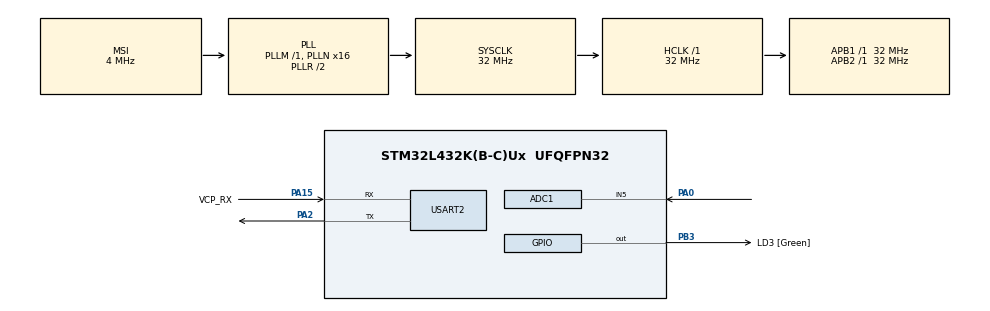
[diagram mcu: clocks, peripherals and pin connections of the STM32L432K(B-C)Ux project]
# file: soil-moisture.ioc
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ADC1.Channel-3\#ChannelRegularConversion=ADC_CHANNEL_VREFINT
ADC1.Channel-4\#ChannelRegularConversion=ADC_CHANNEL_5
ADC1.ContinuousConvMode=DISABLE
ADC1.EnableAnalogWatchDog1=false
ADC1.NbrOfConversion=2
ADC1.NbrOfConversionFlag=1
ADC1.OffsetNumber-3\#ChannelRegularConversion=ADC_OFFSET_NONE
ADC1.OffsetNumber-4\#ChannelRegularConversion=ADC_OFFSET_NONE
ADC1.Rank-3\#ChannelRegularConversion=1
ADC1.Rank-4\#ChannelRegularConversion=2
ADC1.SamplingTime-3\#ChannelRegularConversion=ADC_SAMPLETIME_247CYCLES_5
ADC1.SamplingTime-4\#ChannelRegularConversion=ADC_SAMPLETIME_247CYCLES_5
ADC1.master=1
Mcu.Family=STM32L4
Mcu.Name=STM32L432K(B-C)Ux
Mcu.Package=UFQFPN32
NVIC.PriorityGroup=NVIC_PRIORITYGROUP_4
PA0.Signal=ADCx_IN5
PA13\ (JTMS-SWDIO).GPIO_Label=SWDIO
PA13\ (JTMS-SWDIO).Mode=Serial_Wire
PA13\ (JTMS-SWDIO).Signal=SYS_JTMS-SWDIO
PA14\ (JTCK-SWCLK).GPIO_Label=SWCLK
PA14\ (JTCK-SWCLK).Mode=Serial_Wire
PA14\ (JTCK-SWCLK).Signal=SYS_JTCK-SWCLK
PA15\ (JTDI).GPIO_Label=VCP_RX
PA15\ (JTDI).Mode=Asynchronous
PA15\ (JTDI).Signal=USART2_RX
PA2.Mode=Asynchronous
PA2.Signal=USART2_TX
PB3\ (JTDO-TRACESWO).GPIO_Label=LD3 [Green]
PB3\ (JTDO-TRACESWO).Signal=GPIO_Output
PC14-OSC32_IN\ (PC14).Mode=LSE-External-Oscillator
PC14-OSC32_IN\ (PC14).Signal=RCC_OSC32_IN
PC15-OSC32_OUT\ (PC15).Mode=LSE-External-Oscillator
PC15-OSC32_OUT\ (PC15).Signal=RCC_OSC32_OUT
ProjectManager.HeapSize=0x200
ProjectManager.StackSize=0x400
ProjectManager.TargetToolchain=CMake
RCC.ADCFreq_Value=32000000
RCC.AHBFreq_Value=32000000
RCC.APB1Freq_Value=32000000
RCC.APB1TimFreq_Value=32000000
RCC.APB2Freq_Value=32000000
RCC.APB2TimFreq_Value=32000000
RCC.CortexFreq_Value=32000000
RCC.HCLKFreq_Value=32000000
RCC.HSE_VALUE=8000000
RCC.HSI16_VALUE=16000000
RCC.HSI48_VALUE=48000000
RCC.HSI_VALUE=16000000
RCC.MSI_VALUE=4000000
RCC.PLLMUL=RCC_PLLMUL_4
RCC.PLLN=16
RCC.PLLSAI1N=16
RCC.SYSCLKFreq_VALUE=32000000
RCC.SYSCLKSource=RCC_SYSCLKSOURCE_PLLCLK
RCC.USBFreq_Value=32000000
RCC.VCOOutputFreq_Value=64000000
SH.ADCx_IN5.0=ADC1_IN5,IN5-Single-Ended
USART2.VirtualMode-Asynchronous=VM_ASYNC
VP_ADC1_Vref_Input.Mode=IN-Vrefint
board=NUCLEO-L432KC

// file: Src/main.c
/* USER CODE BEGIN Header */
/**
  ******************************************************************************
  * @file           : main.c
  * @brief          : Main program body
  ******************************************************************************
  * @attention
  *
  * Copyright (c) 2026 STMicroelectronics.
  * All rights reserved.
  *
  * This software is licensed under terms that can be found in the LICENSE file
  * in the root directory of this software component.
  * If no LICENSE file comes with this software, it is provided AS-IS.
  *
  ******************************************************************************
  */
/* USER CODE END Header */
#include "main.h"

/* USER CODE BEGIN Includes */
#include <string.h>
#include <stdio.h>
/* USER CODE END Includes */

ADC_HandleTypeDef hadc1;

UART_HandleTypeDef huart2;

void SystemClock_Config(void);
static void MX_GPIO_Init(void);
static void MX_ADC1_Init(void);
static void MX_USART2_UART_Init(void);

int main(void)
{

  /* USER CODE BEGIN 1 */

  uint32_t adc_ref;		// Variable to store RAW ADC values
  char msg[40];		// Array to print out ADC values through serial UART
  double sum = 0;   // place to sum the values for mean calculation
  int nSamples = 20; // number of samples to take
  uint16_t count;	// ADC Capture Counter

  uint32_t moisture = 0;
  uint32_t voltage_reading = 0;
  uint32_t vdda_voltage = 0;

  double transfer_function_result = 0;

  // Polynomail Regression coeffcicents
  double var_A = 1.0509188409e-11;
  double var_B = -1.1372598225e-07;
  double var_C = 4.5893681046e-04;
  double var_D = -8.2813240419e-01;
  double var_E = 5.8035573202e02;
  /* USER CODE END 1 */

  /* MCU Configuration--------------------------------------------------------*/

  /* Reset of all peripherals, Initializes the Flash interface and the Systick. */
  HAL_Init();

  /* Configure the system clock */
  SystemClock_Config();

  /* Initialize all configured peripherals */
  MX_GPIO_Init();
  MX_ADC1_Init();
  MX_USART2_UART_Init();
  /* USER CODE BEGIN 2 */

  HAL_ADCEx_Calibration_Start(&hadc1, ADC_SINGLE_ENDED);

  /* USER CODE END 2 */

  /* Infinite loop */
  /* USER CODE BEGIN WHILE */

  count = 0;
  while (1)
  {
    /* USER CODE END WHILE */

    /* USER CODE BEGIN 3 */

    // Capture samples of ADC Raw data and transmit through Serial Communications using UART protocol
    if (count <= nSamples)
    {
      //Set LD3 LED to High - indicating start of capture
      HAL_GPIO_WritePin(GPIOB, GPIO_PIN_3, GPIO_PIN_SET);

      // Getting ADC value
      HAL_ADC_Start(&hadc1); 							// Start the ADC capture
      HAL_ADC_PollForConversion(&hadc1, HAL_MAX_DELAY); 	// Begin Reading ADC_CAL
      adc_ref = HAL_ADC_GetValue(&hadc1);					// Store ADC raw data
      HAL_ADC_PollForConversion(&hadc1, HAL_MAX_DELAY); 	// Begin Reading A0 value
      moisture = HAL_ADC_GetValue(&hadc1);

      // calcualating vdda voltage based on in mV using a uint32_t
      // using adc_raw and the internal calibration value

      vdda_voltage = __HAL_ADC_CALC_VREFANALOG_VOLTAGE(adc_ref, ADC_RESOLUTION_12B);

      // Convert to string and print
      sprintf(msg, "ADC Reference Value = %hu\r\n", adc_ref);			// Create a message to send over UART

      HAL_UART_Transmit(&huart2, (uint8_t*)msg, strlen(msg), HAL_MAX_DELAY); // Send message over UART

      sprintf(msg, "ADC Moisture Value = %hu\r\n", moisture);			// Create a message to send over UART

      HAL_UART_Transmit(&huart2, (uint8_t*)msg, strlen(msg), HAL_MAX_DELAY); // Send message over UART

      // Calculate voltage reading from A0

      voltage_reading = __HAL_ADC_CALC_DATA_TO_VOLTAGE(vdda_voltage, moisture, ADC_RESOLUTION_12B);

      sprintf(msg, "Voltage Reading = %hu\r\n", voltage_reading);			// Create a message to send over UART

      HAL_UART_Transmit(&huart2, (uint8_t*)msg, strlen(msg), HAL_MAX_DELAY); // Send message over UART

      // Pretend we have to do something else for a while
      HAL_Delay(1);			// Capture every second
      count++;					// Increment loop counter

      sum += voltage_reading;
    }
    else if (count == nSamples + 1)
    {
      count++;
      sum = sum / (nSamples + 1);
      sprintf(msg, "Mean Voltage Value = %4.2f\r\n", sum);			// Create a message to send over UART
      HAL_UART_Transmit(&huart2, (uint8_t*)msg, strlen(msg), HAL_MAX_DELAY); // Send message over UART

      // Calculating the transfer function

      double x = sum;

      transfer_function_result =
      var_A*x*x*x*x
    + var_B*x*x*x
    + var_C*x*x
    + var_D*x
    + var_E;

      sprintf(msg, "Transfer Function (mL) = %4.2f\r\n", transfer_function_result);			// Create a message to send over UART
      HAL_UART_Transmit(&huart2, (uint8_t*)msg, strlen(msg), HAL_MAX_DELAY); // Send message over UART
    }
    else
    {
      HAL_ADC_Stop(&hadc1);					// Stop the ADC Capture after 20 cycles

    }

    HAL_GPIO_WritePin(GPIOB, GPIO_PIN_3, GPIO_PIN_RESET); 		// Set LD3 LED to indicate ADC has stopped acquisition

  }

}
  /* USER CODE END 3 */

void SystemClock_Config(void)
{
  RCC_OscInitTypeDef RCC_OscInitStruct = {0};
  RCC_ClkInitTypeDef RCC_ClkInitStruct = {0};

  /** Configure the main internal regulator output voltage
  */
  if (HAL_PWREx_ControlVoltageScaling(PWR_REGULATOR_VOLTAGE_SCALE1) != HAL_OK)
  {
    Error_Handler();
  }

  /** Configure LSE Drive Capability
  */
  HAL_PWR_EnableBkUpAccess();
  __HAL_RCC_LSEDRIVE_CONFIG(RCC_LSEDRIVE_LOW);

  /** Initializes the RCC Oscillators according to the specified parameters
  * in the RCC_OscInitTypeDef structure.
  */
  RCC_OscInitStruct.OscillatorType = RCC_OSCILLATORTYPE_LSE|RCC_OSCILLATORTYPE_MSI;
  RCC_OscInitStruct.LSEState = RCC_LSE_ON;
  RCC_OscInitStruct.MSIState = RCC_MSI_ON;
  RCC_OscInitStruct.MSICalibrationValue = 0;
  RCC_OscInitStruct.MSIClockRange = RCC_MSIRANGE_6;
  RCC_OscInitStruct.PLL.PLLState = RCC_PLL_ON;
  RCC_OscInitStruct.PLL.PLLSource = RCC_PLLSOURCE_MSI;
  RCC_OscInitStruct.PLL.PLLM = 1;
  RCC_OscInitStruct.PLL.PLLN = 16;
  RCC_OscInitStruct.PLL.PLLP = RCC_PLLP_DIV7;
  RCC_OscInitStruct.PLL.PLLQ = RCC_PLLQ_DIV2;
  RCC_OscInitStruct.PLL.PLLR = RCC_PLLR_DIV2;
  if (HAL_RCC_OscConfig(&RCC_OscInitStruct) != HAL_OK)
  {
    Error_Handler();
  }

  /** Initializes the CPU, AHB and APB buses clocks
  */
  RCC_ClkInitStruct.ClockType = RCC_CLOCKTYPE_HCLK|RCC_CLOCKTYPE_SYSCLK
                              |RCC_CLOCKTYPE_PCLK1|RCC_CLOCKTYPE_PCLK2;
  RCC_ClkInitStruct.SYSCLKSource = RCC_SYSCLKSOURCE_PLLCLK;
  RCC_ClkInitStruct.AHBCLKDivider = RCC_SYSCLK_DIV1;
  RCC_ClkInitStruct.APB1CLKDivider = RCC_HCLK_DIV1;
  RCC_ClkInitStruct.APB2CLKDivider = RCC_HCLK_DIV1;

  if (HAL_RCC_ClockConfig(&RCC_ClkInitStruct, FLASH_LATENCY_1) != HAL_OK)
  {
    Error_Handler();
  }

  /** Enable MSI Auto calibration
  */
  HAL_RCCEx_EnableMSIPLLMode();
}

static void MX_ADC1_Init(void)
{

  ADC_ChannelConfTypeDef sConfig = {0};

  /** Common config
  */
  hadc1.Instance = ADC1;
  hadc1.Init.ClockPrescaler = ADC_CLOCK_ASYNC_DIV1;
  hadc1.Init.Resolution = ADC_RESOLUTION_12B;
  hadc1.Init.DataAlign = ADC_DATAALIGN_RIGHT;
  hadc1.Init.ScanConvMode = ADC_SCAN_ENABLE;
  hadc1.Init.EOCSelection = ADC_EOC_SINGLE_CONV;
  hadc1.Init.LowPowerAutoWait = DISABLE;
  hadc1.Init.ContinuousConvMode = DISABLE;
  hadc1.Init.NbrOfConversion = 2;
  hadc1.Init.DiscontinuousConvMode = DISABLE;
  hadc1.Init.ExternalTrigConv = ADC_SOFTWARE_START;
  hadc1.Init.ExternalTrigConvEdge = ADC_EXTERNALTRIGCONVEDGE_NONE;
  hadc1.Init.DMAContinuousRequests = DISABLE;
  hadc1.Init.Overrun = ADC_OVR_DATA_PRESERVED;
  hadc1.Init.OversamplingMode = DISABLE;
  if (HAL_ADC_Init(&hadc1) != HAL_OK)
  {
    Error_Handler();
  }

  /** Configure Regular Channel
  */
  sConfig.Channel = ADC_CHANNEL_VREFINT;
  sConfig.Rank = ADC_REGULAR_RANK_1;
  sConfig.SamplingTime = ADC_SAMPLETIME_247CYCLES_5;
  sConfig.SingleDiff = ADC_SINGLE_ENDED;
  sConfig.OffsetNumber = ADC_OFFSET_NONE;
  sConfig.Offset = 0;
  if (HAL_ADC_ConfigChannel(&hadc1, &sConfig) != HAL_OK)
  {
    Error_Handler();
  }

  /** Configure Regular Channel
  */
  sConfig.Channel = ADC_CHANNEL_5;
  sConfig.Rank = ADC_REGULAR_RANK_2;
  if (HAL_ADC_ConfigChannel(&hadc1, &sConfig) != HAL_OK)
  {
    Error_Handler();
  }

}

static void MX_USART2_UART_Init(void)
{

  huart2.Instance = USART2;
  huart2.Init.BaudRate = 115200;
  huart2.Init.WordLength = UART_WORDLENGTH_8B;
  huart2.Init.StopBits = UART_STOPBITS_1;
  huart2.Init.Parity = UART_PARITY_NONE;
  huart2.Init.Mode = UART_MODE_TX_RX;
  huart2.Init.HwFlowCtl = UART_HWCONTROL_NONE;
  huart2.Init.OverSampling = UART_OVERSAMPLING_16;
  huart2.Init.OneBitSampling = UART_ONE_BIT_SAMPLE_DISABLE;
  huart2.AdvancedInit.AdvFeatureInit = UART_ADVFEATURE_NO_INIT;
  if (HAL_UART_Init(&huart2) != HAL_OK)
  {
    Error_Handler();
  }

}

static void MX_GPIO_Init(void)
{
  GPIO_InitTypeDef GPIO_InitStruct = {0};

  /* GPIO Ports Clock Enable */
  __HAL_RCC_GPIOC_CLK_ENABLE();
  __HAL_RCC_GPIOA_CLK_ENABLE();
  __HAL_RCC_GPIOB_CLK_ENABLE();

  /*Configure GPIO pin Output Level */
  HAL_GPIO_WritePin(LD3_GPIO_Port, LD3_Pin, GPIO_PIN_RESET);

  /*Configure GPIO pin : LD3_Pin */
  GPIO_InitStruct.Pin = LD3_Pin;
  GPIO_InitStruct.Mode = GPIO_MODE_OUTPUT_PP;
  GPIO_InitStruct.Pull = GPIO_NOPULL;
  GPIO_InitStruct.Speed = GPIO_SPEED_FREQ_LOW;
  HAL_GPIO_Init(LD3_GPIO_Port, &GPIO_InitStruct);

}

void Error_Handler(void)
{
  __disable_irq();
  while (1)
  {
  }
}
